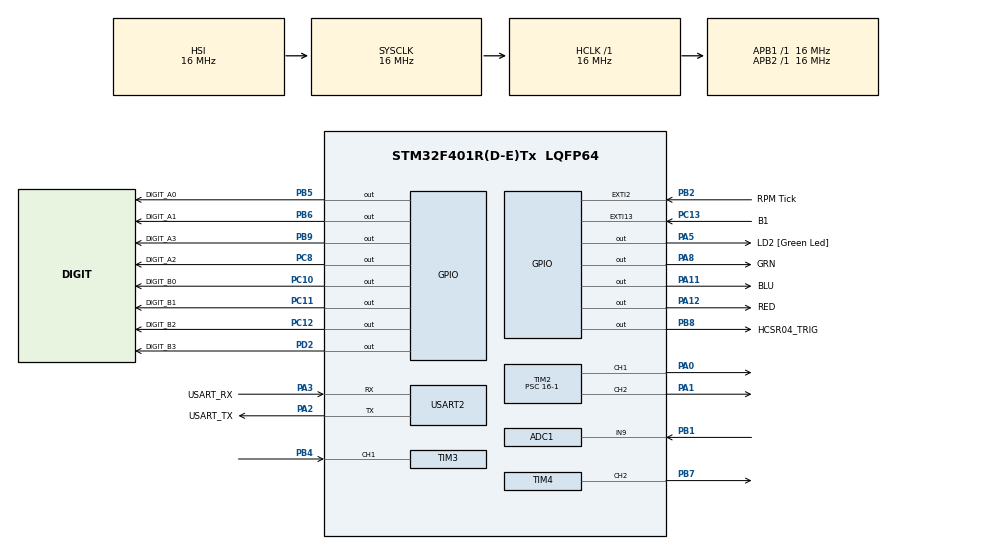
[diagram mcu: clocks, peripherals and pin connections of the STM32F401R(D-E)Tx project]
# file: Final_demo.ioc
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ADC1.Channel-0\#ChannelRegularConversion=ADC_CHANNEL_9
ADC1.NbrOfConversionFlag=1
ADC1.Rank-0\#ChannelRegularConversion=1
ADC1.SamplingTime-0\#ChannelRegularConversion=ADC_SAMPLETIME_3CYCLES
ADC1.ScanConvMode=ENABLE
ADC1.master=1
Mcu.Family=STM32F4
Mcu.Name=STM32F401R(D-E)Tx
Mcu.Package=LQFP64
NVIC.PriorityGroup=NVIC_PRIORITYGROUP_4
NVIC.TIM1_BRK_TIM9_IRQn=true\:0\:0\:false\:false\:true\:true\:true\:true
NVIC.TIM3_IRQn=true\:0\:0\:false\:false\:true\:true\:true\:true
NVIC.TIM5_IRQn=true\:0\:0\:false\:false\:true\:true\:true\:true
NVIC.USART2_IRQn=true\:0\:0\:false\:false\:true\:true\:true\:true
PA0-WKUP.Signal=S_TIM2_CH1_ETR
PA1.Signal=S_TIM2_CH2
PA11.GPIO_Label=BLU
PA11.Signal=GPIO_Output
PA12.GPIO_Label=RED
PA12.Signal=GPIO_Output
PA13.GPIO_Label=TMS
PA13.Mode=Trace_Asynchronous_SW
PA13.Signal=SYS_JTMS-SWDIO
PA14.GPIO_Label=TCK
PA14.Mode=Trace_Asynchronous_SW
PA14.Signal=SYS_JTCK-SWCLK
PA2.GPIO_Label=USART_TX
PA2.GPIO_Mode=GPIO_MODE_AF_PP
PA2.GPIO_PuPd=GPIO_NOPULL
PA2.GPIO_Speed=GPIO_SPEED_FREQ_LOW
PA2.Mode=Asynchronous
PA2.Signal=USART2_TX
PA3.GPIO_Label=USART_RX
PA3.GPIO_Mode=GPIO_MODE_AF_PP
PA3.GPIO_PuPd=GPIO_NOPULL
PA3.GPIO_Speed=GPIO_SPEED_FREQ_LOW
PA3.Mode=Asynchronous
PA3.Signal=USART2_RX
PA5.GPIO_Label=LD2 [Green Led]
PA5.GPIO_Mode=GPIO_MODE_OUTPUT_PP
PA5.GPIO_PuPd=GPIO_NOPULL
PA5.GPIO_Speed=GPIO_SPEED_FREQ_LOW
PA5.Signal=GPIO_Output
PA8.GPIO_Label=GRN
PA8.Signal=GPIO_Output
PB1.Signal=ADCx_IN9
PB2.GPIO_Label=RPM Tick
PB2.Signal=GPXTI2
PB3.GPIO_Label=SWO
PB3.Mode=Trace_Asynchronous_SW
PB3.Signal=SYS_JTDO-SWO
PB4.Signal=S_TIM3_CH1
PB5.GPIO_Label=DIGIT_A0
PB5.Signal=GPIO_Output
PB6.GPIO_Label=DIGIT_A1
PB6.Signal=GPIO_Output
PB7.Signal=S_TIM4_CH2
PB8.GPIO_Label=HCSR04_TRIG
PB8.Signal=GPIO_Output
PB9.GPIO_Label=DIGIT_A3
PB9.Signal=GPIO_Output
PC10.GPIO_Label=DIGIT_B0
PC10.Signal=GPIO_Output
PC11.GPIO_Label=DIGIT_B1
PC11.Signal=GPIO_Output
PC12.GPIO_Label=DIGIT_B2
PC12.Signal=GPIO_Output
PC13-ANTI_TAMP.GPIO_Label=B1
PC13-ANTI_TAMP.Signal=GPXTI13
PC14-OSC32_IN.Mode=LSE-External-Oscillator
PC14-OSC32_IN.Signal=RCC_OSC32_IN
PC15-OSC32_OUT.Mode=LSE-External-Oscillator
PC15-OSC32_OUT.Signal=RCC_OSC32_OUT
PC8.GPIO_Label=DIGIT_A2
PC8.Signal=GPIO_Output
PD2.GPIO_Label=DIGIT_B3
PD2.Signal=GPIO_Output
PH0\ -\ OSC_IN.Mode=HSE-External-Clock-Source
PH0\ -\ OSC_IN.Signal=RCC_OSC_IN
PH1\ -\ OSC_OUT.Mode=HSE-External-Clock-Source
PH1\ -\ OSC_OUT.Signal=RCC_OSC_OUT
ProjectManager.HeapSize=0x200
ProjectManager.StackSize=0x400
ProjectManager.TargetToolchain=STM32CubeIDE
RCC.48MHZClocksFreq_Value=48000000
RCC.AHBFreq_Value=16000000
RCC.APB1Freq_Value=16000000
RCC.APB1TimFreq_Value=16000000
RCC.APB2Freq_Value=16000000
RCC.APB2TimFreq_Value=16000000
RCC.CortexFreq_Value=16000000
RCC.HCLKFreq_Value=16000000
RCC.HSE_VALUE=8000000
RCC.HSI_VALUE=16000000
RCC.PLLN=336
RCC.PLLP=RCC_PLLP_DIV4
RCC.PLLQ=7
RCC.SYSCLKFreq_VALUE=16000000
RCC.VCOOutputFreq_Value=336000000
SH.ADCx_IN9.0=ADC1_IN9,IN9
SH.S_TIM2_CH1_ETR.0=TIM2_CH1,PWM Generation1 CH1
SH.S_TIM2_CH2.0=TIM2_CH2,PWM Generation2 CH2
SH.S_TIM3_CH1.0=TIM3_CH1,Input_Capture1_from_TI1
SH.S_TIM4_CH2.0=TIM4_CH2,PWM Generation2 CH2
TIM2.AutoReloadPreload=TIM_AUTORELOAD_PRELOAD_ENABLE
TIM2.Channel-PWM\ Generation1\ CH1=TIM_CHANNEL_1
TIM2.Channel-PWM\ Generation2\ CH2=TIM_CHANNEL_2
TIM2.Period=2000-1
TIM2.Prescaler=16-1
TIM2.Pulse-PWM\ Generation1\ CH1=1200-1
TIM3.AutoReloadPreload=TIM_AUTORELOAD_PRELOAD_DISABLE
TIM3.Channel-Input_Capture1_from_TI1=TIM_CHANNEL_1
TIM3.ICPolarity_CH1=TIM_INPUTCHANNELPOLARITY_BOTHEDGE
TIM3.Period=65535
TIM3.Prescaler=16-1
TIM4.AutoReloadPreload=TIM_AUTORELOAD_PRELOAD_ENABLE
TIM4.Channel-PWM\ Generation2\ CH2=TIM_CHANNEL_2
TIM4.Period=20000
TIM4.Prescaler=16-1
TIM5.AutoReloadPreload=TIM_AUTORELOAD_PRELOAD_ENABLE
TIM5.Period=1000-1
TIM5.Prescaler=5333-1
TIM9.Period=5000-1
TIM9.Prescaler=16000-1
USART2.VirtualMode=VM_ASYNC
VP_TIM2_VS_ClockSourceINT.Mode=Internal
VP_TIM3_VS_ClockSourceINT.Mode=Internal
VP_TIM4_VS_ClockSourceINT.Mode=Internal
VP_TIM5_VS_ClockSourceINT.Mode=Internal
VP_TIM9_VS_ClockSourceINT.Mode=Internal
board=NUCLEO-F401RE

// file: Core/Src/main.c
/* USER CODE BEGIN Header */
/**
  ******************************************************************************
  * @file           : main.c
  * @brief          : Main program body
  ******************************************************************************
  * @attention
  *
  * Copyright (c) 2025 STMicroelectronics.
  * All rights reserved.
  *
  * This software is licensed under terms that can be found in the LICENSE file
  * in the root directory of this software component.
  * If no LICENSE file comes with this software, it is provided AS-IS.
  *
  ******************************************************************************
  */
/* USER CODE END Header */
#include "main.h"

/* USER CODE BEGIN PM */
#define PIPELINE_NUM 4
#define MIN_DEPTH 2
#define MAX_DEPTH 12
/* USER CODE END PM */

ADC_HandleTypeDef hadc1;

TIM_HandleTypeDef htim2;
TIM_HandleTypeDef htim3;
TIM_HandleTypeDef htim4;
TIM_HandleTypeDef htim5;
TIM_HandleTypeDef htim9;

UART_HandleTypeDef huart2;

/* USER CODE BEGIN PV */
volatile uint8_t clock_hours = 0;
volatile uint8_t clock_mins = 0;

volatile uint8_t wall_clock_hr_update_flag = 0;
volatile uint16_t rpm_tick_count = 0;

volatile uint16_t rpm_tick_count1 = 0;
volatile uint16_t rpm_tick_count2 = 0;
volatile uint16_t rpm_tick_count_diff = 0;

uint8_t ultrasonic_msg_buffer[64] = {0};
/* USER CODE END PV */

void SystemClock_Config(void);
static void MX_GPIO_Init(void);
static void MX_USART2_UART_Init(void);
static void MX_ADC1_Init(void);
static void MX_TIM2_Init(void);
static void MX_TIM3_Init(void);
static void MX_TIM4_Init(void);
static void MX_TIM5_Init(void);
static void MX_TIM9_Init(void);

/* USER CODE BEGIN 0 */
uint8_t byte;
uint16_t value;
uint8_t rcv_intpt_flag = 0;
volatile uint8_t rpm_time_out = 0;

Pipeline pipeline[PIPELINE_NUM];
output OutputData[24];
uint8_t txd_msg_buffer[128] = {0};

// hcsr04 variables
volatile uint8_t hcsr04_Rx_flag = 0;
volatile uint8_t first_edge = 0;
volatile uint16_t time_edge1 = 0;
volatile uint16_t time_edge2 = 0;
/* USER CODE END 0 */

int main(void)
{

  /* USER CODE BEGIN 1 */
	char clk_label[128] = {0};
	char clk_msg_buffer[64] = {0};
	char irrigation_done_msg[64] = {0};

	uint16_t time_diff = 0;
	uint16_t distance = 0;

	void HCSR04_TRIG_PULSE(void) {
		HAL_GPIO_WritePin(HCSR04_TRIG_GPIO_Port, HCSR04_TRIG_Pin, GPIO_PIN_SET);
		for (int i = 0; i != 15; i = i + 1) {};
		HAL_GPIO_WritePin(HCSR04_TRIG_GPIO_Port, HCSR04_TRIG_Pin, GPIO_PIN_RESET);
	}

  /* USER CODE END 1 */

  /* MCU Configuration--------------------------------------------------------*/

  /* Reset of all peripherals, Initializes the Flash interface and the Systick. */
  HAL_Init();

  /* Configure the system clock */
  SystemClock_Config();

  /* Initialize all configured peripherals */
  MX_GPIO_Init();
  MX_USART2_UART_Init();
  MX_ADC1_Init();
  MX_TIM2_Init();
  MX_TIM3_Init();
  MX_TIM4_Init();
  MX_TIM5_Init();
  MX_TIM9_Init();
  /* USER CODE BEGIN 2 */
  HAL_TIM_Base_Init(&htim2);
  HAL_TIM_PWM_Start(&htim2, TIM_CHANNEL_1);
  HAL_TIM_PWM_Start(&htim2, TIM_CHANNEL_2);

  TIM2 -> PSC = 16 - 1;
  TIM2 -> ARR = 2000 - 1;
  TIM2 -> CCR1 = 0;
  TIM2 -> CCR2 = 0;

  HAL_TIM_Base_Start(&htim4);
  HAL_TIM_PWM_Start(&htim4, TIM_CHANNEL_2);

  TIM4->PSC = 16-1;
  TIM4->ARR = 20000-1;

  HAL_TIM_Base_Start_IT(&htim5);

  HAL_TIM_Base_Init(&htim3);
  HAL_TIM_Base_Start(&htim3);
  HAL_TIM_IC_Start_IT(&htim3, TIM_CHANNEL_1);

  HAL_TIM_Base_Init(&htim9);
  HAL_TIM_Base_Start(&htim9);

//  HAL_NVIC_SetPriority(TIM1_BRK_TIM9_IRQn, 0, 0);
//  HAL_NVIC_EnableIRQ(TIM1_BRK_TIM9_IRQn);

  clock_hours = 0;
  clock_mins = 0;

  /* USER CODE END 2 */

  /* Infinite loop */
  /* USER CODE BEGIN WHILE */
  while (1)
  {
	  // START SYSTEM MODE HERE
	  sprintf((char*)txd_msg_buffer, "\r\n Enter SETUP Parameters:");
	  HAL_UART_Transmit(&huart2, txd_msg_buffer, strlen((char*)txd_msg_buffer), 1000);

	  for (int i = 0; i < PIPELINE_NUM; i++) {
		  rcv_intpt_flag = 00; // usd to see if receiver interrupt has occured
		  HAL_UART_Receive_IT(&huart2, &byte, 1); // enables receiver to create interrupt when character arrives. it's placed in "byte"

		  sprintf((char*)txd_msg_buffer, "\r\n PIPELINE (options: 0 to 3): ");
		  HAL_UART_Transmit(&huart2, txd_msg_buffer, strlen((char*)txd_msg_buffer), 1000);
		  while( rcv_intpt_flag == (00) ) {}

		  pipeline[i].value = value;

		  sprintf((char*)txd_msg_buffer, "\r\n value: %d", pipeline[i].value);
		  HAL_UART_Transmit(&huart2, txd_msg_buffer, strlen((char*)txd_msg_buffer), 1000);

		  rcv_intpt_flag = 00; // usd to see if receiver interrupt has occured
		  HAL_UART_Receive_IT(&huart2, &byte, 1); // enables receiver to create interrupt when character arrives. it's placed in "byte"

		  sprintf((char*)txd_msg_buffer, "\r\n Pump PWM (options: 0 to 3): ");
		  HAL_UART_Transmit(&huart2, txd_msg_buffer, strlen((char*)txd_msg_buffer), 1000);
		  while( rcv_intpt_flag == (00) ) {}

		  pipeline[i].pwm = value;
	  }

	  for (int i = 0; i < PIPELINE_NUM; i++) {
		  rcv_intpt_flag = 00; // usd to see if receiver interrupt has occured
		  HAL_UART_Receive_IT(&huart2, &byte, 1); // enables receiver to create interrupt when character arrives. it's placed in "byte"

		  sprintf((char*)txd_msg_buffer, "\r\n Pipeline %d	Pump FIRST HOUR (options: 00 to 23): ", i);
		  HAL_UART_Transmit(&huart2, txd_msg_buffer, strlen((char*)txd_msg_buffer), 1000);
		  while( rcv_intpt_flag == (00) ) {}

		  pipeline[i].first_time = value;

		  rcv_intpt_flag = 00; // usd to see if receiver interrupt has occured
		  HAL_UART_Receive_IT(&huart2, &byte, 1); // enables receiver to create interrupt when character arrives. it's placed in "byte"

		  sprintf((char*)txd_msg_buffer, "\r\n Pipeline %d	Pump LAST HOUR (options: 00 to 23): ", i);
		  HAL_UART_Transmit(&huart2, txd_msg_buffer, strlen((char*)txd_msg_buffer), 1000);
		  while( rcv_intpt_flag == (00) ) {}

		  pipeline[i].last_time = value;
	  }

	  sprintf((char*)txd_msg_buffer, "\r\n Printing SETUP Parameters");
	  HAL_UART_Transmit(&huart2, txd_msg_buffer, strlen((char*)txd_msg_buffer), 1000);
	  sprintf((char*)txd_msg_buffer, "\r\n CURRENT WALL CLOCK HOUR 0");
	  HAL_UART_Transmit(&huart2, txd_msg_buffer, strlen((char*)txd_msg_buffer), 1000);

	  for (int i = 0; i < PIPELINE_NUM; i++) {
		  sprintf((char*)txd_msg_buffer, "\r\n PIPELINE: %d	 Pump PWM: %d  Pump FIRST HOUR: %d  Pump LAST HOUR: %d\n", pipeline[i].value, pipeline[i].pwm, pipeline[i].first_time, pipeline[i].last_time);
		  HAL_UART_Transmit(&huart2, txd_msg_buffer, strlen((char*)txd_msg_buffer), 1000);
	  }

	  sprintf((char*)txd_msg_buffer, "\r\n SETUP is done. Press Blue Button for RUN MODE");
	  HAL_UART_Transmit(&huart2, txd_msg_buffer, strlen((char*)txd_msg_buffer), 1000);

	  while(HAL_GPIO_ReadPin(GPIOC, GPIO_PIN_13)) {}

	  clock_mins = 0; clock_hours = 0;
	  sprintf( clk_label, "\r\n Wall Clk | Zone/Inlet | Motor Speed PWM | Motor RPM | Reservoir Water Depth ");
	  HAL_UART_Transmit(&huart2, (uint8_t *)clk_label, strlen(clk_label), HAL_MAX_DELAY);

	  //set all values to ' '
	  for (int i = 0; i < 24; i++) {
		  OutputData[i].value = ' ';
	  }

	  format_time(OutputData, pipeline);
	  wall_clock_hr_update_flag = 1;

	  uint8_t counter = 0;
	  while (1) {
		  // Continuously print

		  if (wall_clock_hr_update_flag) {
		  	  wall_clock_hr_update_flag = 0;

		  	  //adc start
		  	  if (OutputData[counter].pwm == 0 && OutputData[counter].value != ' ') {	//only capture adc value if pipe is specified
		  		  ADC_Select_CH(9);
				  HAL_ADC_Start(&hadc1);
				  HAL_ADC_PollForConversion(&hadc1, 1000);
				  uint8_t ADC_CH9 = HAL_ADC_GetValue(&hadc1);
				  HAL_ADC_Stop(&hadc1);

				  OutputData[counter].pwm = (ADC_CH9 * 100)/255;
		  	  }
		  	  //adc end

		  	  // set motor PWM and LED color
		  	  HAL_GPIO_WritePin(GPIOA, BLU_Pin|GRN_Pin|RED_Pin, GPIO_PIN_RESET);

		  	  if (OutputData[counter].value == 0 + '0') {
		  		  TIM2 -> CCR2 = 0;
			  	  TIM2 -> CCR1 = (TIM2 -> ARR + 1) * OutputData[counter].pwm / 100;
			  	  // set LED to purple
			  	  HAL_GPIO_WritePin(GPIOA, BLU_Pin|RED_Pin, GPIO_PIN_SET);
			  	  servo_write_angle(0);
		  	  }
		  	  else {
		  		  TIM2 -> CCR1 = 0;
		  		  TIM2 -> CCR2 = (TIM2 -> ARR + 1) * OutputData[counter].pwm / 100;
		  		  switch (OutputData[counter].value) {
		  		  	  case(1 + '0'):
						HAL_GPIO_WritePin(GPIOA, RED_Pin, GPIO_PIN_SET);
		  		  	  	servo_write_angle(55);
		  		  	  	break;
		  		  	  case(2 + '0'):
						HAL_GPIO_WritePin(GPIOA, GRN_Pin, GPIO_PIN_SET);
		  		  	  	servo_write_angle(110);
		  		  	  	break;
		  		  	  case(3 + '0'):
						HAL_GPIO_WritePin(GPIOA, BLU_Pin, GPIO_PIN_SET);
		  		  	  	servo_write_angle(165);
		  		  	  	break;
		  		  }
		  	  }

		  	  // Distance sensor start
		  	  hcsr04_Rx_flag = 0;
		  	  first_edge = 0;
		  	  time_edge1 = 0;
		  	  time_edge2 = 0;
		  	  time_diff = 0;

		  	  HCSR04_TRIG_PULSE();

		  	  while (hcsr04_Rx_flag == 0) {};

//			time_diff = time_edge2 - time_edge1;
//			distance = time_diff/29;
//			distance = 100*((30-distance)/25);

		  	  time_diff = time_edge2 - time_edge1;
		  	  float temp = time_diff/58.0;
		  	  distance = 120-(temp * 10);

		  	  if (distance > 99) {
		  		  distance = 99;
		  	  }

		  	  uint8_t tens = distance / 10;
		  	  uint8_t ones = distance % 10;

		  	  DIGITS_Display(tens, ones);

		  	  if (distance == 0) {
		  		  print_empty_error();
		  		  break;
		  	  }
		  	  // Distance sensor end
		  	  // read current rpm
		  	  uint16_t rpm = get_rpm();

			  sprintf(clk_msg_buffer, "\r\n %d | %c | %d | %d | %d",  counter, OutputData[counter].value, OutputData[counter].pwm, 0, distance);
			  HAL_UART_Transmit(&huart2, (uint8_t *)clk_msg_buffer, strlen(clk_msg_buffer), HAL_MAX_DELAY);
			  counter++;

			  if (clock_hours == 24) {
				  sprintf(irrigation_done_msg, "\r\n Irrigation completed. " );
				  HAL_UART_Transmit(&huart2, (uint8_t *)irrigation_done_msg, strlen(irrigation_done_msg), HAL_MAX_DELAY);
				  break;
			  }

		  }

    /* USER CODE END WHILE */

	  }
	  while (1) {}
  }
}

void SystemClock_Config(void)
{
  RCC_OscInitTypeDef RCC_OscInitStruct = {0};
  RCC_ClkInitTypeDef RCC_ClkInitStruct = {0};

  /** Configure the main internal regulator output voltage
  */
  __HAL_RCC_PWR_CLK_ENABLE();
  __HAL_PWR_VOLTAGESCALING_CONFIG(PWR_REGULATOR_VOLTAGE_SCALE2);

  /** Initializes the RCC Oscillators according to the specified parameters
  * in the RCC_OscInitTypeDef structure.
  */
  RCC_OscInitStruct.OscillatorType = RCC_OSCILLATORTYPE_HSI;
  RCC_OscInitStruct.HSIState = RCC_HSI_ON;
  RCC_OscInitStruct.HSICalibrationValue = RCC_HSICALIBRATION_DEFAULT;
  RCC_OscInitStruct.PLL.PLLState = RCC_PLL_NONE;
  if (HAL_RCC_OscConfig(&RCC_OscInitStruct) != HAL_OK)
  {
    Error_Handler();
  }

  /** Initializes the CPU, AHB and APB buses clocks
  */
  RCC_ClkInitStruct.ClockType = RCC_CLOCKTYPE_HCLK|RCC_CLOCKTYPE_SYSCLK
                              |RCC_CLOCKTYPE_PCLK1|RCC_CLOCKTYPE_PCLK2;
  RCC_ClkInitStruct.SYSCLKSource = RCC_SYSCLKSOURCE_HSI;
  RCC_ClkInitStruct.AHBCLKDivider = RCC_SYSCLK_DIV1;
  RCC_ClkInitStruct.APB1CLKDivider = RCC_HCLK_DIV1;
  RCC_ClkInitStruct.APB2CLKDivider = RCC_HCLK_DIV1;

  if (HAL_RCC_ClockConfig(&RCC_ClkInitStruct, FLASH_LATENCY_0) != HAL_OK)
  {
    Error_Handler();
  }
}

static void MX_ADC1_Init(void)
{

  ADC_ChannelConfTypeDef sConfig = {0};

  /** Configure the global features of the ADC (Clock, Resolution, Data Alignment and number of conversion)
  */
  hadc1.Instance = ADC1;
  hadc1.Init.ClockPrescaler = ADC_CLOCK_SYNC_PCLK_DIV2;
  hadc1.Init.Resolution = ADC_RESOLUTION_12B;
  hadc1.Init.ScanConvMode = ENABLE;
  hadc1.Init.ContinuousConvMode = DISABLE;
  hadc1.Init.DiscontinuousConvMode = DISABLE;
  hadc1.Init.ExternalTrigConvEdge = ADC_EXTERNALTRIGCONVEDGE_NONE;
  hadc1.Init.ExternalTrigConv = ADC_SOFTWARE_START;
  hadc1.Init.DataAlign = ADC_DATAALIGN_RIGHT;
  hadc1.Init.NbrOfConversion = 1;
  hadc1.Init.DMAContinuousRequests = DISABLE;
  hadc1.Init.EOCSelection = ADC_EOC_SINGLE_CONV;
  if (HAL_ADC_Init(&hadc1) != HAL_OK)
  {
    Error_Handler();
  }

  /** Configure for the selected ADC regular channel its corresponding rank in the sequencer and its sample time.
  */
  sConfig.Channel = ADC_CHANNEL_9;
  sConfig.Rank = 1;
  sConfig.SamplingTime = ADC_SAMPLETIME_3CYCLES;
  if (HAL_ADC_ConfigChannel(&hadc1, &sConfig) != HAL_OK)
  {
    Error_Handler();
  }

}

static void MX_TIM2_Init(void)
{

  TIM_ClockConfigTypeDef sClockSourceConfig = {0};
  TIM_MasterConfigTypeDef sMasterConfig = {0};
  TIM_OC_InitTypeDef sConfigOC = {0};

  htim2.Instance = TIM2;
  htim2.Init.Prescaler = 16-1;
  htim2.Init.CounterMode = TIM_COUNTERMODE_UP;
  htim2.Init.Period = 2000-1;
  htim2.Init.ClockDivision = TIM_CLOCKDIVISION_DIV1;
  htim2.Init.AutoReloadPreload = TIM_AUTORELOAD_PRELOAD_ENABLE;
  if (HAL_TIM_Base_Init(&htim2) != HAL_OK)
  {
    Error_Handler();
  }
  sClockSourceConfig.ClockSource = TIM_CLOCKSOURCE_INTERNAL;
  if (HAL_TIM_ConfigClockSource(&htim2, &sClockSourceConfig) != HAL_OK)
  {
    Error_Handler();
  }
  if (HAL_TIM_PWM_Init(&htim2) != HAL_OK)
  {
    Error_Handler();
  }
  sMasterConfig.MasterOutputTrigger = TIM_TRGO_RESET;
  sMasterConfig.MasterSlaveMode = TIM_MASTERSLAVEMODE_DISABLE;
  if (HAL_TIMEx_MasterConfigSynchronization(&htim2, &sMasterConfig) != HAL_OK)
  {
    Error_Handler();
  }
  sConfigOC.OCMode = TIM_OCMODE_PWM1;
  sConfigOC.Pulse = 1200-1;
  sConfigOC.OCPolarity = TIM_OCPOLARITY_HIGH;
  sConfigOC.OCFastMode = TIM_OCFAST_DISABLE;
  if (HAL_TIM_PWM_ConfigChannel(&htim2, &sConfigOC, TIM_CHANNEL_1) != HAL_OK)
  {
    Error_Handler();
  }
  sConfigOC.Pulse = 0;
  if (HAL_TIM_PWM_ConfigChannel(&htim2, &sConfigOC, TIM_CHANNEL_2) != HAL_OK)
  {
    Error_Handler();
  }
  HAL_TIM_MspPostInit(&htim2);

}

static void MX_TIM3_Init(void)
{

  TIM_ClockConfigTypeDef sClockSourceConfig = {0};
  TIM_MasterConfigTypeDef sMasterConfig = {0};
  TIM_IC_InitTypeDef sConfigIC = {0};

  htim3.Instance = TIM3;
  htim3.Init.Prescaler = 16-1;
  htim3.Init.CounterMode = TIM_COUNTERMODE_UP;
  htim3.Init.Period = 65535;
  htim3.Init.ClockDivision = TIM_CLOCKDIVISION_DIV1;
  htim3.Init.AutoReloadPreload = TIM_AUTORELOAD_PRELOAD_DISABLE;
  if (HAL_TIM_Base_Init(&htim3) != HAL_OK)
  {
    Error_Handler();
  }
  sClockSourceConfig.ClockSource = TIM_CLOCKSOURCE_INTERNAL;
  if (HAL_TIM_ConfigClockSource(&htim3, &sClockSourceConfig) != HAL_OK)
  {
    Error_Handler();
  }
  if (HAL_TIM_IC_Init(&htim3) != HAL_OK)
  {
    Error_Handler();
  }
  sMasterConfig.MasterOutputTrigger = TIM_TRGO_RESET;
  sMasterConfig.MasterSlaveMode = TIM_MASTERSLAVEMODE_DISABLE;
  if (HAL_TIMEx_MasterConfigSynchronization(&htim3, &sMasterConfig) != HAL_OK)
  {
    Error_Handler();
  }
  sConfigIC.ICPolarity = TIM_INPUTCHANNELPOLARITY_BOTHEDGE;
  sConfigIC.ICSelection = TIM_ICSELECTION_DIRECTTI;
  sConfigIC.ICPrescaler = TIM_ICPSC_DIV1;
  sConfigIC.ICFilter = 0;
  if (HAL_TIM_IC_ConfigChannel(&htim3, &sConfigIC, TIM_CHANNEL_1) != HAL_OK)
  {
    Error_Handler();
  }

}

static void MX_TIM4_Init(void)
{

  TIM_ClockConfigTypeDef sClockSourceConfig = {0};
  TIM_MasterConfigTypeDef sMasterConfig = {0};
  TIM_OC_InitTypeDef sConfigOC = {0};

  htim4.Instance = TIM4;
  htim4.Init.Prescaler = 16-1;
  htim4.Init.CounterMode = TIM_COUNTERMODE_UP;
  htim4.Init.Period = 20000;
  htim4.Init.ClockDivision = TIM_CLOCKDIVISION_DIV1;
  htim4.Init.AutoReloadPreload = TIM_AUTORELOAD_PRELOAD_ENABLE;
  if (HAL_TIM_Base_Init(&htim4) != HAL_OK)
  {
    Error_Handler();
  }
  sClockSourceConfig.ClockSource = TIM_CLOCKSOURCE_INTERNAL;
  if (HAL_TIM_ConfigClockSource(&htim4, &sClockSourceConfig) != HAL_OK)
  {
    Error_Handler();
  }
  if (HAL_TIM_PWM_Init(&htim4) != HAL_OK)
  {
    Error_Handler();
  }
  sMasterConfig.MasterOutputTrigger = TIM_TRGO_RESET;
  sMasterConfig.MasterSlaveMode = TIM_MASTERSLAVEMODE_DISABLE;
  if (HAL_TIMEx_MasterConfigSynchronization(&htim4, &sMasterConfig) != HAL_OK)
  {
    Error_Handler();
  }
  sConfigOC.OCMode = TIM_OCMODE_PWM1;
  sConfigOC.Pulse = 0;
  sConfigOC.OCPolarity = TIM_OCPOLARITY_HIGH;
  sConfigOC.OCFastMode = TIM_OCFAST_DISABLE;
  if (HAL_TIM_PWM_ConfigChannel(&htim4, &sConfigOC, TIM_CHANNEL_2) != HAL_OK)
  {
    Error_Handler();
  }
  HAL_TIM_MspPostInit(&htim4);

}

static void MX_TIM5_Init(void)
{

  TIM_ClockConfigTypeDef sClockSourceConfig = {0};
  TIM_MasterConfigTypeDef sMasterConfig = {0};

  htim5.Instance = TIM5;
  htim5.Init.Prescaler = 5333-1;
  htim5.Init.CounterMode = TIM_COUNTERMODE_UP;
  htim5.Init.Period = 1000-1;
  htim5.Init.ClockDivision = TIM_CLOCKDIVISION_DIV1;
  htim5.Init.AutoReloadPreload = TIM_AUTORELOAD_PRELOAD_ENABLE;
  if (HAL_TIM_Base_Init(&htim5) != HAL_OK)
  {
    Error_Handler();
  }
  sClockSourceConfig.ClockSource = TIM_CLOCKSOURCE_INTERNAL;
  if (HAL_TIM_ConfigClockSource(&htim5, &sClockSourceConfig) != HAL_OK)
  {
    Error_Handler();
  }
  sMasterConfig.MasterOutputTrigger = TIM_TRGO_RESET;
  sMasterConfig.MasterSlaveMode = TIM_MASTERSLAVEMODE_DISABLE;
  if (HAL_TIMEx_MasterConfigSynchronization(&htim5, &sMasterConfig) != HAL_OK)
  {
    Error_Handler();
  }

}

static void MX_TIM9_Init(void)
{

  TIM_ClockConfigTypeDef sClockSourceConfig = {0};

  htim9.Instance = TIM9;
  htim9.Init.Prescaler = 16000-1;
  htim9.Init.CounterMode = TIM_COUNTERMODE_UP;
  htim9.Init.Period = 5000-1;
  htim9.Init.ClockDivision = TIM_CLOCKDIVISION_DIV1;
  htim9.Init.AutoReloadPreload = TIM_AUTORELOAD_PRELOAD_DISABLE;
  if (HAL_TIM_Base_Init(&htim9) != HAL_OK)
  {
    Error_Handler();
  }
  sClockSourceConfig.ClockSource = TIM_CLOCKSOURCE_INTERNAL;
  if (HAL_TIM_ConfigClockSource(&htim9, &sClockSourceConfig) != HAL_OK)
  {
    Error_Handler();
  }

}

static void MX_USART2_UART_Init(void)
{

  huart2.Instance = USART2;
  huart2.Init.BaudRate = 115200;
  huart2.Init.WordLength = UART_WORDLENGTH_8B;
  huart2.Init.StopBits = UART_STOPBITS_1;
  huart2.Init.Parity = UART_PARITY_NONE;
  huart2.Init.Mode = UART_MODE_TX_RX;
  huart2.Init.HwFlowCtl = UART_HWCONTROL_NONE;
  huart2.Init.OverSampling = UART_OVERSAMPLING_16;
  if (HAL_UART_Init(&huart2) != HAL_OK)
  {
    Error_Handler();
  }

}

static void MX_GPIO_Init(void)
{
  GPIO_InitTypeDef GPIO_InitStruct = {0};

  /* GPIO Ports Clock Enable */
  __HAL_RCC_GPIOC_CLK_ENABLE();
  __HAL_RCC_GPIOH_CLK_ENABLE();
  __HAL_RCC_GPIOA_CLK_ENABLE();
  __HAL_RCC_GPIOB_CLK_ENABLE();
  __HAL_RCC_GPIOD_CLK_ENABLE();

  /*Configure GPIO pin Output Level */
  HAL_GPIO_WritePin(GPIOA, LD2_Pin|GRN_Pin|BLU_Pin|RED_Pin, GPIO_PIN_RESET);

  /*Configure GPIO pin Output Level */
  HAL_GPIO_WritePin(GPIOC, DIGIT_A2_Pin|DIGIT_B0_Pin|DIGIT_B1_Pin|DIGIT_B2_Pin, GPIO_PIN_RESET);

  /*Configure GPIO pin Output Level */
  HAL_GPIO_WritePin(DIGIT_B3_GPIO_Port, DIGIT_B3_Pin, GPIO_PIN_RESET);

  /*Configure GPIO pin Output Level */
  HAL_GPIO_WritePin(GPIOB, DIGIT_A0_Pin|DIGIT_A1_Pin|HCSR04_TRIG_Pin|DIGIT_A3_Pin, GPIO_PIN_RESET);

  /*Configure GPIO pin : B1_Pin */
  GPIO_InitStruct.Pin = B1_Pin;
  GPIO_InitStruct.Mode = GPIO_MODE_IT_RISING;
  GPIO_InitStruct.Pull = GPIO_NOPULL;
  HAL_GPIO_Init(B1_GPIO_Port, &GPIO_InitStruct);

  /*Configure GPIO pins : LD2_Pin GRN_Pin BLU_Pin RED_Pin */
  GPIO_InitStruct.Pin = LD2_Pin|GRN_Pin|BLU_Pin|RED_Pin;
  GPIO_InitStruct.Mode = GPIO_MODE_OUTPUT_PP;
  GPIO_InitStruct.Pull = GPIO_NOPULL;
  GPIO_InitStruct.Speed = GPIO_SPEED_FREQ_LOW;
  HAL_GPIO_Init(GPIOA, &GPIO_InitStruct);

  /*Configure GPIO pin : RPM_Tick_Pin */
  GPIO_InitStruct.Pin = RPM_Tick_Pin;
  GPIO_InitStruct.Mode = GPIO_MODE_IT_RISING;
  GPIO_InitStruct.Pull = GPIO_NOPULL;
  HAL_GPIO_Init(RPM_Tick_GPIO_Port, &GPIO_InitStruct);

  /*Configure GPIO pins : DIGIT_A2_Pin DIGIT_B0_Pin DIGIT_B1_Pin DIGIT_B2_Pin */
  GPIO_InitStruct.Pin = DIGIT_A2_Pin|DIGIT_B0_Pin|DIGIT_B1_Pin|DIGIT_B2_Pin;
  GPIO_InitStruct.Mode = GPIO_MODE_OUTPUT_PP;
  GPIO_InitStruct.Pull = GPIO_NOPULL;
  GPIO_InitStruct.Speed = GPIO_SPEED_FREQ_LOW;
  HAL_GPIO_Init(GPIOC, &GPIO_InitStruct);

  /*Configure GPIO pin : DIGIT_B3_Pin */
  GPIO_InitStruct.Pin = DIGIT_B3_Pin;
  GPIO_InitStruct.Mode = GPIO_MODE_OUTPUT_PP;
  GPIO_InitStruct.Pull = GPIO_NOPULL;
  GPIO_InitStruct.Speed = GPIO_SPEED_FREQ_LOW;
  HAL_GPIO_Init(DIGIT_B3_GPIO_Port, &GPIO_InitStruct);

  /*Configure GPIO pins : DIGIT_A0_Pin DIGIT_A1_Pin HCSR04_TRIG_Pin DIGIT_A3_Pin */
  GPIO_InitStruct.Pin = DIGIT_A0_Pin|DIGIT_A1_Pin|HCSR04_TRIG_Pin|DIGIT_A3_Pin;
  GPIO_InitStruct.Mode = GPIO_MODE_OUTPUT_PP;
  GPIO_InitStruct.Pull = GPIO_NOPULL;
  GPIO_InitStruct.Speed = GPIO_SPEED_FREQ_LOW;
  HAL_GPIO_Init(GPIOB, &GPIO_InitStruct);

}

/* USER CODE BEGIN 4 */

volatile char uart_buf[3];  // max 2 digits + null terminator
volatile uint8_t uart_index = 0;

void HAL_UART_RxCpltCallback(UART_HandleTypeDef *huart)
{
	if (huart->Instance == USART2)
	{
		HAL_UART_Transmit(&huart2, &byte, 1, 100);

		if (byte >= '0' && byte <= '9') {
			if (uart_index < 2) {
				uart_buf[uart_index] = byte;
				uart_index++;
			}
		}
		else if (byte == '\r' || byte == '\n')
		{
			// end of input, convert to integer
			uart_buf[uart_index] = '\0';  // null-terminate
			value = atoi((char*)uart_buf);  // convert to number
			uart_index = 0;                 // reset for next input
			rcv_intpt_flag = 1;             // signal that value is ready
		}
	}
	// continue receiving
	HAL_UART_Receive_IT(&huart2, &byte, 1);
}

void HAL_TIM_PeriodElapsedCallback(TIM_HandleTypeDef *htim)
{
	if ((htim->Instance == TIM5))
	{
		wall_clock_hr_update_flag = 0;
		clock_mins += 1;
		if (clock_mins == 60) {
			clock_hours += 1;
			clock_mins = 0;
			wall_clock_hr_update_flag = 1;
		}
	}
	else if ((htim -> Instance == TIM9)) {
		rpm_time_out = 1;
	}
}

void HAL_TIM_IC_CaptureCallback(TIM_HandleTypeDef *htim) {
	if (htim -> Instance == TIM3) {
		if (htim -> Channel == HAL_TIM_ACTIVE_CHANNEL_1) {
			if (first_edge == 0) {
				time_edge1 = HAL_TIM_ReadCapturedValue(htim, TIM_CHANNEL_1);
				first_edge = 1;
			}
			else {
				time_edge2 = HAL_TIM_ReadCapturedValue(htim, TIM_CHANNEL_1);
				__HAL_TIM_SET_COUNTER(htim, 0);
				hcsr04_Rx_flag = 1;
			}
		}
	}
}

void format_time(output output_data[24], Pipeline pipeline[4]) {
	for (int i = 0; i < PIPELINE_NUM; i++) {
		for (int j = pipeline[i].first_time; j <= pipeline[i].last_time; j++) {
			output_data[j].value = '0' + pipeline[i].value;

			switch(pipeline[i].pwm) {
				case 0:
					output_data[j].pwm = 0;
					break;
				case 1:
					output_data[j].pwm = 70;
					break;
				case 2:
					output_data[j].pwm = 85;
					break;
				case 3:
					output_data[j].pwm = 99;
					break;
			}
		}
	}
}

void ADC_Select_CH(int CH)
{
	ADC_ChannelConfTypeDef sConfig = {0};
	switch(CH)
	{
	case 0:
	sConfig.Channel = ADC_CHANNEL_0;
	sConfig.Rank = 1;
	if (HAL_ADC_ConfigChannel(&hadc1, &sConfig) != HAL_OK)
	{
		Error_Handler();
	}
	break;

	case 1:
	sConfig.Channel = ADC_CHANNEL_1;
	sConfig.Rank = 1;
	if (HAL_ADC_ConfigChannel(&hadc1, &sConfig) != HAL_OK)
	{
		Error_Handler();
	}
	break;
	case 2:
	sConfig.Channel = ADC_CHANNEL_2;
	sConfig.Rank = 1;
	if (HAL_ADC_ConfigChannel(&hadc1, &sConfig) != HAL_OK)
	{
		Error_Handler();
	}
	break;
	case 3:
	sConfig.Channel = ADC_CHANNEL_3;
	sConfig.Rank = 1;
	if (HAL_ADC_ConfigChannel(&hadc1, &sConfig) != HAL_OK)
	{
		Error_Handler();
	}
	break;
	case 4:
	sConfig.Channel = ADC_CHANNEL_4;
	sConfig.Rank = 1;
	if (HAL_ADC_ConfigChannel(&hadc1, &sConfig) != HAL_OK)
	{
		Error_Handler();
	}
	break;
	case 5:
	sConfig.Channel = ADC_CHANNEL_5;
	sConfig.Rank = 1;
	if (HAL_ADC_ConfigChannel(&hadc1, &sConfig) != HAL_OK)
	{
		Error_Handler();
	}
	break;
	case 6:
	sConfig.Channel = ADC_CHANNEL_6;
	sConfig.Rank = 1;
	if (HAL_ADC_ConfigChannel(&hadc1, &sConfig) != HAL_OK)
	{
		Error_Handler();
	}
	break;
	case 7:
	sConfig.Channel = ADC_CHANNEL_7;
	sConfig.Rank = 1;
	if (HAL_ADC_ConfigChannel(&hadc1, &sConfig) != HAL_OK)
	{
		Error_Handler();
	}
	break;
	case 8:
	sConfig.Channel = ADC_CHANNEL_8;
	sConfig.Rank = 1;
	if (HAL_ADC_ConfigChannel(&hadc1, &sConfig) != HAL_OK)
	{
		Error_Handler();
	}
	break;
	case 9:
	sConfig.Channel = ADC_CHANNEL_9;
	sConfig.Rank = 1;
	if (HAL_ADC_ConfigChannel(&hadc1, &sConfig) != HAL_OK)
	{
		Error_Handler();
	}
	break;
	case 10:
	sConfig.Channel = ADC_CHANNEL_10;
	sConfig.Rank = 1;
	if (HAL_ADC_ConfigChannel(&hadc1, &sConfig) != HAL_OK)
	{
		Error_Handler();
	}
	break;
	case 11:
	sConfig.Channel = ADC_CHANNEL_11;
	sConfig.Rank = 1;
	if (HAL_ADC_ConfigChannel(&hadc1, &sConfig) != HAL_OK)
	{
		Error_Handler();
	}
	break;
	case 12:
	sConfig.Channel = ADC_CHANNEL_12;
	sConfig.Rank = 1;
	if (HAL_ADC_ConfigChannel(&hadc1, &sConfig) != HAL_OK)
	{
		Error_Handler();
	}
	break;
	case 13:
	sConfig.Channel = ADC_CHANNEL_13;
	sConfig.Rank = 1;
	if (HAL_ADC_ConfigChannel(&hadc1, &sConfig) != HAL_OK)
	{
		Error_Handler();
	}
	break;
	case 14:
	sConfig.Channel = ADC_CHANNEL_14;
	sConfig.Rank = 1;
	if (HAL_ADC_ConfigChannel(&hadc1, &sConfig) != HAL_OK)
	{
		Error_Handler();
	}
	break;
	case 15:
	sConfig.Channel = ADC_CHANNEL_15;
	sConfig.Rank = 1;
	if (HAL_ADC_ConfigChannel(&hadc1, &sConfig) != HAL_OK)
	{
		Error_Handler();
	}
	break;
	}
}

void HAL_GPIO_EXTI_Callback(uint16_t GPIO_Pin)
{
	if (GPIO_Pin == RPM_Tick_Pin)
	{
		rpm_tick_count += 1;
	}
}

uint16_t get_rpm(void)
{
	HAL_NVIC_DisableIRQ(EXTI2_IRQn); // disable the interrupts coming from the rpm sensor.
	HAL_TIM_Base_Stop_IT(&htim9); // stop the Tim2 counting.

	rpm_tick_count = 0;
	rpm_tick_count1 = 0;
	rpm_tick_count2 = 0;
	rpm_tick_count_diff = 0;
	rpm_time_out = 0;

	TIM9 -> ARR = 5000 - 1;

	HAL_TIM_Base_Start_IT(&htim9);
	HAL_NVIC_EnableIRQ(EXTI2_IRQn);

	rpm_tick_count1 = rpm_tick_count;

	while(rpm_time_out == 0) {}

	rpm_tick_count2 = rpm_tick_count;

	HAL_NVIC_DisableIRQ(EXTI2_IRQn);
	HAL_TIM_Base_Stop_IT(&htim9)	;

	rpm_time_out = 0;
	rpm_tick_count_diff = (rpm_tick_count2 - rpm_tick_count1);
	int rpm_tick_per_min = (float)rpm_tick_count_diff * 10;
	uint16_t rpm = rpm_tick_count / 20;
	return rpm;
}

void print_empty_error(void) {
	sprintf((char*)txd_msg_buffer, "\r\n *********************************" );
	HAL_UART_Transmit(&huart2, txd_msg_buffer, strlen((char*)txd_msg_buffer), HAL_MAX_DELAY);

	sprintf((char*)txd_msg_buffer, "\r\n ******  RESEVOIR IS EMPTY  ******" );
	HAL_UART_Transmit(&huart2, txd_msg_buffer, strlen((char*)txd_msg_buffer), HAL_MAX_DELAY);

	sprintf((char*)txd_msg_buffer, "\r\n *********************************" );
	HAL_UART_Transmit(&huart2, txd_msg_buffer, strlen((char*)txd_msg_buffer), HAL_MAX_DELAY);
}

void DIGITS_Display(uint8_t DIGIT_A, uint8_t DIGIT_B)
{
	 uint8_t DIGITA_VAL = 0x0F & DIGIT_A; //mask off higher4 bits
	 int Abit0 = (DIGITA_VAL ) & 1;  	// extract Abit0 of the 4-bit value
	 int Abit1 = (DIGITA_VAL >> 1) & 1;  // extract Abit1 of the 4-bit value
	 int Abit2 = (DIGITA_VAL >> 2) & 1;  // extract Abit2 of the 4-bit value
	 int Abit3 = (DIGITA_VAL >> 3) & 1;  // extract Abit3 of the 4-bit value

	 uint8_t DIGITB_VAL = 0x0F & DIGIT_B; //mask off higher4 bits
	 int Bbit0 = (DIGITB_VAL ) & 1;  	// extract Bbit0 of the 4-bit value
	 int Bbit1 = (DIGITB_VAL >> 1) & 1;  // extract Bbit1 of the 4-bit value
	 int Bbit2 = (DIGITB_VAL >> 2) & 1;  // extract Bbit2 of the 4-bit value
	 int Bbit3 = (DIGITB_VAL >> 3) & 1;  // extract Bbit3 of the 4-bit value

	 if (Abit0 == (0))
	 {
		 HAL_GPIO_WritePin(GPIOB, DIGIT_A0_Pin, GPIO_PIN_RESET);
	 }
	 else
	 {
		 HAL_GPIO_WritePin(GPIOB, DIGIT_A0_Pin, GPIO_PIN_SET);

	 }
	 if (Abit1 == (0))
	 {
		 HAL_GPIO_WritePin(GPIOB, DIGIT_A1_Pin, GPIO_PIN_RESET);
	 }
	 else
	 {
		 HAL_GPIO_WritePin(GPIOB, DIGIT_A1_Pin, GPIO_PIN_SET);

	 }
	 if (Abit2 == (0))
	 {
		 HAL_GPIO_WritePin(GPIOC, DIGIT_A2_Pin, GPIO_PIN_RESET);
	 }
	 else
	 {
		 HAL_GPIO_WritePin(GPIOC, DIGIT_A2_Pin, GPIO_PIN_SET);

	 }
	 if (Abit3 == (0))
	 {
		 HAL_GPIO_WritePin(GPIOB, DIGIT_A3_Pin, GPIO_PIN_RESET);
	 }
	 else
	 {
		 HAL_GPIO_WritePin(GPIOB, DIGIT_A3_Pin, GPIO_PIN_SET);

	 }

	 if (Bbit0 == (0))
	 {
		 HAL_GPIO_WritePin(GPIOC, DIGIT_B0_Pin, GPIO_PIN_RESET);
	 }
	 else
	 {
		 HAL_GPIO_WritePin(GPIOC, DIGIT_B0_Pin, GPIO_PIN_SET);

	 }
	 if (Bbit1 == (0))
	 {
		 HAL_GPIO_WritePin(GPIOC, DIGIT_B1_Pin, GPIO_PIN_RESET);
	 }
	 else
	 {
		 HAL_GPIO_WritePin(GPIOC, DIGIT_B1_Pin, GPIO_PIN_SET);

	 }
	 if (Bbit2 == (0))
	 {
		 HAL_GPIO_WritePin(GPIOC, DIGIT_B2_Pin, GPIO_PIN_RESET);
	 }
	 else
	 {
		 HAL_GPIO_WritePin(GPIOC, DIGIT_B2_Pin, GPIO_PIN_SET);

	 }
	 if (Bbit3 == (0))
	 {
		 HAL_GPIO_WritePin(GPIOC, DIGIT_B3_Pin, GPIO_PIN_RESET);
	 }
	 else
	 {
		 HAL_GPIO_WritePin(GPIOC, DIGIT_B3_Pin, GPIO_PIN_SET);

	 }
}

void servo_write_angle(uint8_t angle)
{
    // Clamp input (servos generally don't accept >180 anyway)
    if (angle > 180) angle = 180;

    // Convert angle to pulse width
    // Use 32-bit math to prevent overflow: (angle * 1000)
    uint32_t pulse_us = 1000 + ((uint32_t)angle * 1000) / 180;

    // Timer runs at 1 MHz (1 tick = 1 µs), so CCR2 = pulse in µs
    TIM4->CCR2 = (uint16_t)pulse_us;
}
/* USER CODE END 4 */

void Error_Handler(void)
{
  __disable_irq();
  while (1)
  {
  }
}
